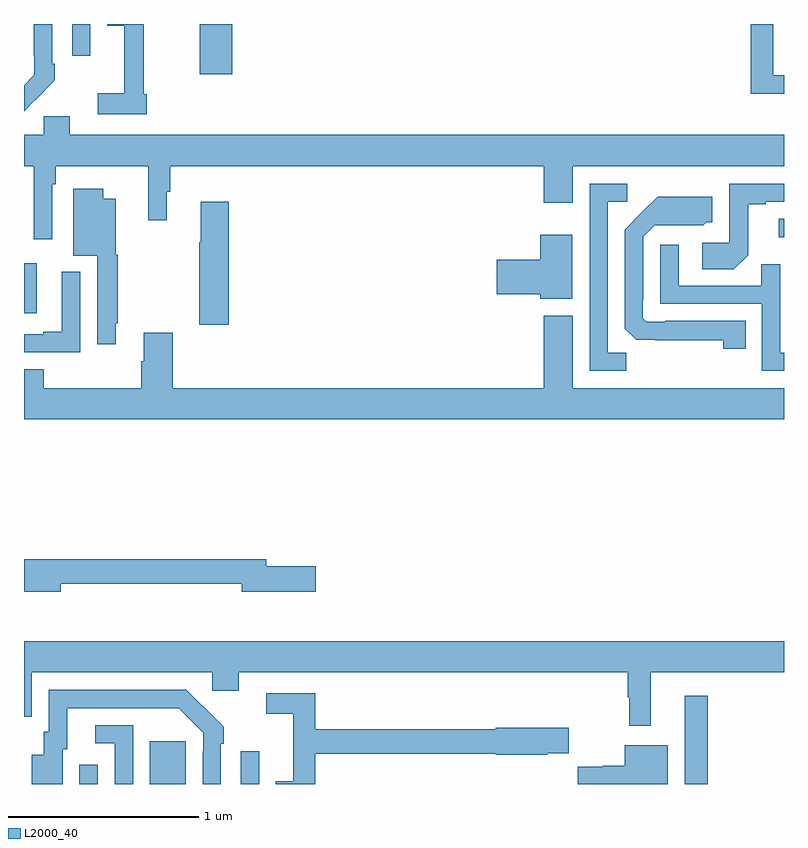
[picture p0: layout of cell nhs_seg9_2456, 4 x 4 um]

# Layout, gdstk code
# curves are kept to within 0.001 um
import gdstk
lib = gdstk.Library(unit=1e-6, precision=1e-09)
def R(c, l, rs):  # rectangles x0, y0, x1, y1
    for r in rs: c.add(gdstk.rectangle(r[:2], r[2:], *l))
def P(c, l, *ps):  # polygons
    for p in ps: c.add(gdstk.Polygon(p, *l))
L2000_40 = (2000, 40)

nhs_seg9_2456 = lib.new_cell('nhs_seg9_2456')
R(nhs_seg9_2456, L2000_40, [(251.292,1194.5,251.388,1194.601), (251.663,1194.5,251.851,1194.724), (252.141,1194.5,252.237,1194.673), (254.477,1194.5,254.599,1194.964), (251,1196.978,251.068,1197.241), (254.973,1197.377,255,1197.474), (251.924,1198.236,252.095,1198.5), (251.253,1198.332,251.349,1198.5)])
P(nhs_seg9_2456, L2000_40, [(251.057,1198.099),(251.058,1198.098),(251.163,1198.203),(251.163,1198.291),(251.148,1198.291),(251.148,1198.5),(251.052,1198.5),(251.052,1198.333),(251.055,1198.333),(251.055,1198.233),(251,1198.178),(251,1198.042)],
  [(251.645,1198.129),(251.63,1198.129),(251.63,1198.5),(251.438,1198.5),(251.438,1198.49),(251.528,1198.49),(251.528,1198.135),(251.388,1198.135),(251.388,1198.026),(251.645,1198.026)],
  [(255,1198.23),(254.944,1198.23),(254.944,1198.5),(254.826,1198.5),(254.826,1198.133),(255,1198.133)],
  [(251.148,1197.656),(251.168,1197.656),(251.168,1197.752),(251.653,1197.752),(251.653,1197.468),(251.752,1197.468),(251.752,1197.618),(251.771,1197.618),(251.771,1197.752),(253.736,1197.752),(253.736,1197.558),(253.888,1197.558),(253.888,1197.752),(255,1197.752),(255,1197.916),(251.242,1197.916),(251.242,1198.014),(251.103,1198.014),(251.103,1197.916),(251,1197.916),(251,1197.752),(251.051,1197.752),(251.051,1197.366),(251.148,1197.366)],
  [(254.169,1196.771),(254.073,1196.771),(254.073,1197.564),(254.176,1197.564),(254.176,1197.66),(253.977,1197.66),(253.977,1196.676),(254.169,1196.676)],
  [(254.811,1197.284),(254.811,1197.552),(254.905,1197.552),(254.905,1197.564),(255,1197.564),(255,1197.66),(254.712,1197.66),(254.712,1197.348),(254.571,1197.348),(254.571,1197.208),(254.735,1197.208)],
  [(251.482,1196.926),(251.494,1196.926),(251.494,1197.285),(251.482,1197.285),(251.482,1197.58),(251.416,1197.58),(251.416,1197.634),(251.258,1197.634),(251.258,1197.281),(251.385,1197.281),(251.385,1196.814),(251.482,1196.814)],
  [(254.798,1196.937),(254.374,1196.937),(254.374,1196.934),(254.274,1196.934),(254.256,1196.952),(254.256,1197.052),(254.259,1197.052),(254.259,1197.381),(254.319,1197.441),(254.576,1197.44),(254.592,1197.456),(254.623,1197.456),(254.623,1197.592),(254.335,1197.592),(254.163,1197.418),(254.163,1196.896),(254.222,1196.837),(254.68,1196.836),(254.68,1196.79),(254.798,1196.79)],
  [(252.077,1197.565),(251.93,1197.565),(251.93,1197.352),(251.923,1197.352),(251.923,1196.916),(252.077,1196.916)],
  [(253.885,1197.391),(253.718,1197.391),(253.718,1197.26),(253.488,1197.26),(253.488,1197.077),(253.718,1197.077),(253.718,1197.053),(253.885,1197.053)],
  [(255,1196.769),(254.979,1196.769),(254.979,1197.236),(254.881,1197.236),(254.881,1197.123),(254.445,1197.123),(254.445,1197.337),(254.349,1197.337),(254.349,1197.027),(254.883,1197.027),(254.883,1196.676),(255,1196.676)],
  [(251.295,1197.196),(251.198,1197.196),(251.198,1196.881),(251.102,1196.881),(251.102,1196.868),(251,1196.868),(251,1196.772),(251.295,1196.772)],
  [(255,1196.584),(253.888,1196.584),(253.888,1196.965),(253.736,1196.965),(253.736,1196.584),(251.783,1196.584),(251.783,1196.875),(251.63,1196.875),(251.63,1196.726),(251.618,1196.726),(251.618,1196.584),(251.105,1196.584),(251.105,1196.682),(251,1196.682),(251,1196.42),(255,1196.42)],
  [(251.194,1195.554),(252.146,1195.554),(252.146,1195.511),(252.535,1195.511),(252.535,1195.646),(252.274,1195.646),(252.274,1195.682),(251,1195.682),(251,1195.511),(251.194,1195.511)],
  [(254.299,1195.088),(255,1195.088),(255,1195.252),(251,1195.252),(251,1194.853),(251.041,1194.853),(251.041,1195.088),(251.991,1195.088),(251.991,1194.99),(252.13,1194.99),(252.13,1195.088),(254.178,1195.088),(254.178,1194.956),(254.185,1194.956),(254.185,1194.807),(254.299,1194.807)],
  [(251.203,1194.684),(251.227,1194.684),(251.227,1194.9),(251.815,1194.9),(251.943,1194.771),(251.943,1194.671),(251.94,1194.671),(251.94,1194.5),(252.036,1194.5),(252.036,1194.713),(252.051,1194.713),(252.051,1194.801),(251.854,1194.996),(251.13,1194.996),(251.13,1194.774),(251.105,1194.774),(251.105,1194.655),(251.042,1194.655),(251.042,1194.5),(251.203,1194.5)],
  [(252.533,1194.658),(253.482,1194.658),(253.482,1194.653),(253.754,1194.653),(253.754,1194.661),(253.867,1194.661),(253.867,1194.795),(253.482,1194.795),(253.482,1194.787),(252.533,1194.787),(252.533,1194.978),(252.276,1194.978),(252.276,1194.87),(252.416,1194.87),(252.416,1194.514),(252.326,1194.514),(252.326,1194.5),(252.533,1194.5)],
  [(251.574,1194.81),(251.376,1194.81),(251.376,1194.714),(251.478,1194.714),(251.478,1194.5),(251.574,1194.5)],
  [(254.389,1194.703),(254.162,1194.703),(254.162,1194.597),(254.046,1194.597),(254.046,1194.59),(253.914,1194.59),(253.914,1194.5),(254.389,1194.5)])

lib.write_gds('nhs_seg9_2456.gds')
